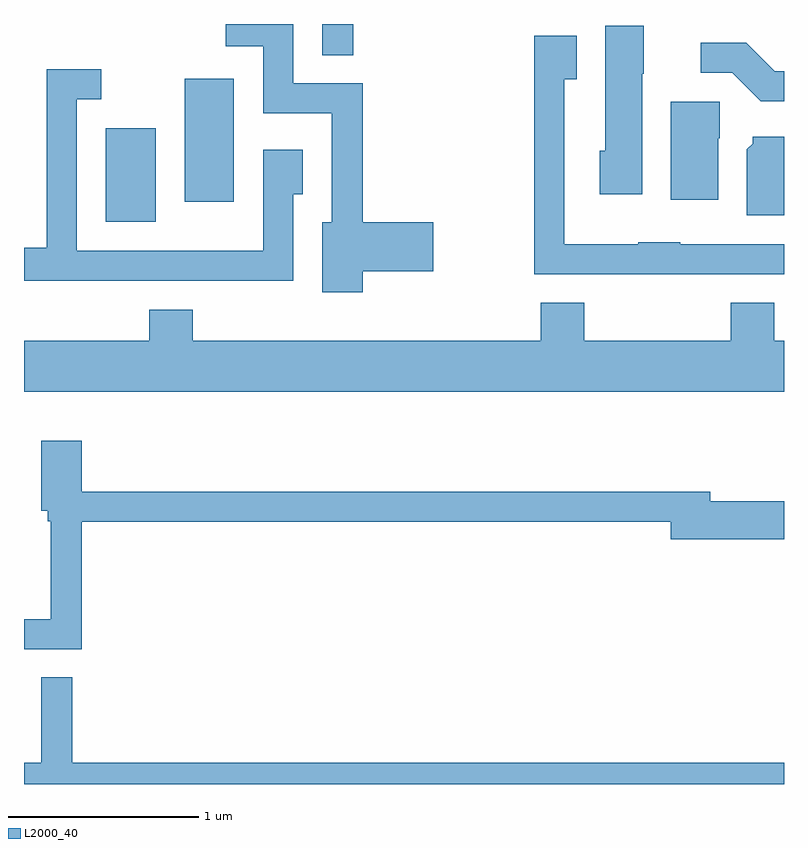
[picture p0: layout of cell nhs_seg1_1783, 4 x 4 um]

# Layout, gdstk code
import gdstk
lib = gdstk.Library(unit=1e-6, precision=1e-09)
def R(c, l, rs):  # rectangles x0, y0, x1, y1
    for r in rs: c.add(gdstk.rectangle(r[:2], r[2:], *l))
def P(c, l, *ps):  # polygons
    for p in ps: c.add(gdstk.Polygon(p, *l))
L2000_40 = (2000, 40)

nhs_seg1_1783 = lib.new_cell('nhs_seg1_1783')
R(nhs_seg1_1783, L2000_40, [(240.041,922.671,240.304,923.164), (240.456,922.776,240.714,923.424), (241.181,923.548,241.344,923.712)])
P(nhs_seg1_1783, L2000_40, [(241.394,922.411),(241.764,922.411),(241.764,922.669),(241.394,922.669),(241.394,923.399),(241.029,923.399),(241.029,923.712),(240.673,923.712),(240.673,923.596),(240.871,923.596),(240.871,923.241),(241.231,923.241),(241.231,922.669),(241.181,922.669),(241.181,922.301),(241.394,922.301)],
  [(242.864,923.45),(242.874,923.45),(242.874,923.704),(242.671,923.704),(242.671,923.044),(242.641,923.044),(242.641,922.816),(242.864,922.816)],
  [(243.611,922.554),(243.065,922.554),(243.065,922.564),(242.845,922.564),(242.845,922.554),(242.454,922.554),(242.454,923.421),(242.519,923.421),(242.519,923.649),(242.296,923.649),(242.296,922.396),(243.611,922.396)],
  [(243.611,923.464),(243.562,923.464),(243.412,923.614),(243.173,923.614),(243.173,923.456),(243.339,923.456),(243.489,923.306),(243.611,923.306)],
  [(241.029,922.816),(241.079,922.816),(241.079,923.049),(240.871,923.049),(240.871,922.519),(239.889,922.519),(239.889,923.316),(240.018,923.316),(240.018,923.474),(239.731,923.474),(239.731,922.534),(239.611,922.534),(239.611,922.361),(241.029,922.361)],
  [(243.264,923.11),(243.274,923.11),(243.274,923.304),(243.016,923.304),(243.016,922.786),(243.264,922.786)],
  [(243.611,923.119),(243.446,923.119),(243.446,923.082),(243.416,923.052),(243.416,922.706),(243.611,922.706)],
  [(243.611,922.044),(243.559,922.044),(243.559,922.244),(243.331,922.244),(243.331,922.044),(242.559,922.044),(242.559,922.244),(242.331,922.244),(242.331,922.044),(240.499,922.044),(240.499,922.209),(240.271,922.209),(240.271,922.044),(239.611,922.044),(239.611,921.776),(243.611,921.776)],
  [(239.914,921.091),(243.016,921.091),(243.016,921.001),(243.611,921.001),(243.611,921.199),(243.224,921.199),(243.224,921.249),(239.914,921.249),(239.914,921.519),(239.701,921.519),(239.701,921.151),(239.736,921.151),(239.736,921.095),(239.751,921.095),(239.751,920.579),(239.611,920.579),(239.611,920.421),(239.914,920.421)],
  [(243.611,919.824),(239.864,919.824),(239.864,920.273),(239.701,920.273),(239.701,919.824),(239.611,919.824),(239.611,919.712),(243.611,919.712)])

lib.write_gds('nhs_seg1_1783.gds')
